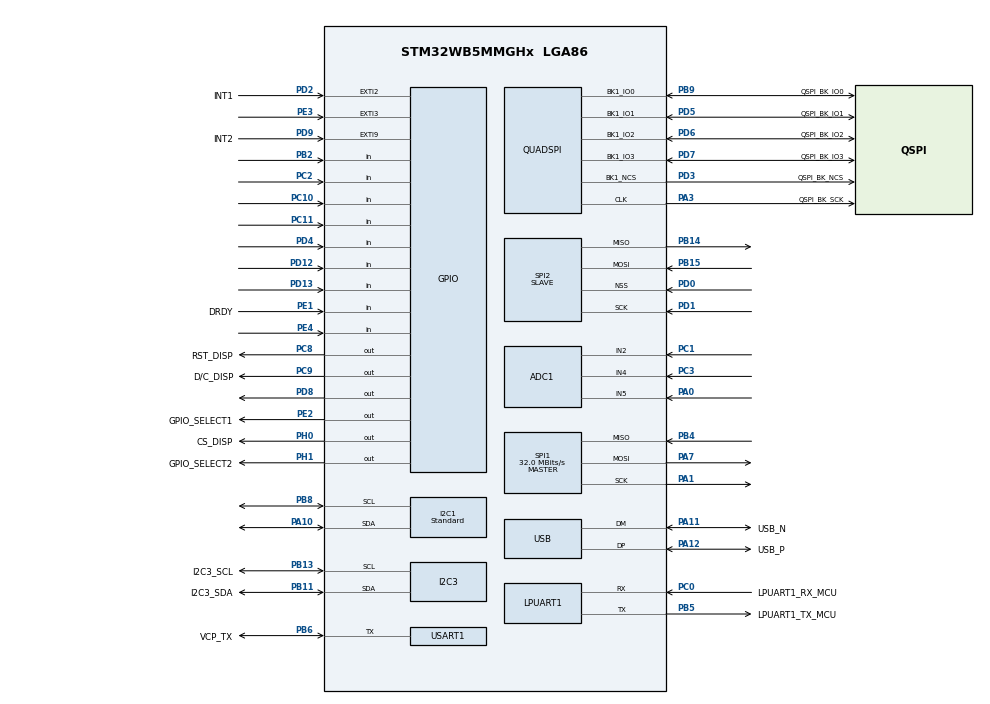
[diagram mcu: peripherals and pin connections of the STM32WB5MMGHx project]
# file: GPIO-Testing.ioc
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ADC1.Channel-0\#ChannelRegularConversion=ADC_CHANNEL_2
ADC1.ClockPrescaler=ADC_CLOCK_ASYNC_DIV6
ADC1.NbrOfConversionFlag=1
ADC1.OffsetNumber-0\#ChannelRegularConversion=ADC_OFFSET_NONE
ADC1.Rank-0\#ChannelRegularConversion=1
ADC1.SamplingTime-0\#ChannelRegularConversion=ADC_SAMPLETIME_2CYCLES_5
ADC1.master=1
Dma.ADC1.0.Direction=DMA_PERIPH_TO_MEMORY
Dma.ADC1.0.EventEnable=DISABLE
Dma.ADC1.0.Instance=DMA1_Channel1
Dma.ADC1.0.MemDataAlignment=DMA_MDATAALIGN_HALFWORD
Dma.ADC1.0.MemInc=DMA_MINC_ENABLE
Dma.ADC1.0.Mode=DMA_CIRCULAR
Dma.ADC1.0.PeriphDataAlignment=DMA_PDATAALIGN_HALFWORD
Dma.ADC1.0.PeriphInc=DMA_PINC_DISABLE
Dma.ADC1.0.Polarity=HAL_DMAMUX_REQ_GEN_RISING
Dma.ADC1.0.Priority=DMA_PRIORITY_LOW
Dma.ADC1.0.RequestNumber=1
Dma.ADC1.0.SignalID=NONE
Dma.ADC1.0.SyncEnable=DISABLE
Dma.ADC1.0.SyncPolarity=HAL_DMAMUX_SYNC_NO_EVENT
Dma.ADC1.0.SyncRequestNumber=1
Dma.ADC1.0.SyncSignalID=NONE
Dma.LPUART1_RX.1.Direction=DMA_PERIPH_TO_MEMORY
Dma.LPUART1_RX.1.EventEnable=DISABLE
Dma.LPUART1_RX.1.Instance=DMA1_Channel2
Dma.LPUART1_RX.1.MemDataAlignment=DMA_MDATAALIGN_BYTE
Dma.LPUART1_RX.1.MemInc=DMA_MINC_ENABLE
Dma.LPUART1_RX.1.Mode=DMA_NORMAL
Dma.LPUART1_RX.1.PeriphDataAlignment=DMA_PDATAALIGN_BYTE
Dma.LPUART1_RX.1.PeriphInc=DMA_PINC_DISABLE
Dma.LPUART1_RX.1.Polarity=HAL_DMAMUX_REQ_GEN_RISING
Dma.LPUART1_RX.1.Priority=DMA_PRIORITY_LOW
Dma.LPUART1_RX.1.RequestNumber=1
Dma.LPUART1_RX.1.SignalID=NONE
Dma.LPUART1_RX.1.SyncEnable=DISABLE
Dma.LPUART1_RX.1.SyncPolarity=HAL_DMAMUX_SYNC_NO_EVENT
Dma.LPUART1_RX.1.SyncRequestNumber=1
Dma.LPUART1_RX.1.SyncSignalID=NONE
Dma.Request0=ADC1
Dma.Request1=LPUART1_RX
I2C1.CustomTiming=Enabled
I2C1.I2C_Speed_Mode=I2C_Standard
I2C1.Timing=0x10707DBC
I2C3.SMBusAddressingMode=SMBUS_ADDRESSINGMODE_7BIT
I2C3.Timeout=0x0000830D
I2C3.Timing=0x10B17DB5
LPTIM2.ULPClockPolarity=LPTIM_CLOCKPOLARITY_FALLING
LPTIM2.ULPClockSampleTime=LPTIM_CLOCKSAMPLETIME_2TRANSITIONS
Mcu.Family=STM32WB
Mcu.Name=STM32WB5MMGHx
Mcu.Package=LGA86
NVIC.DMA1_Channel1_IRQn=true\:0\:0\:false\:false\:true\:false\:true\:true
NVIC.DMA1_Channel2_IRQn=true\:0\:0\:false\:false\:true\:false\:true\:true
NVIC.HSEM_IRQn=true\:0\:0\:false\:false\:true\:false\:true\:true
NVIC.LPUART1_IRQn=true\:0\:0\:false\:false\:true\:true\:true\:true
NVIC.PriorityGroup=NVIC_PRIORITYGROUP_4
NVIC.RTC_Alarm_IRQn=true\:0\:0\:false\:false\:true\:true\:true\:true
NVIC.TIM1_CC_IRQn=true\:0\:0\:false\:false\:true\:true\:true\:true
PA0.Signal=ADCx_IN5
PA1.Mode=Full_Duplex_Master
PA1.Signal=SPI1_SCK
PA10.GPIO_Pu=GPIO_PULLUP
PA10.Mode=I2C
PA10.Signal=I2C1_SDA
PA11.GPIO_Label=USB_N
PA11.Mode=Device
PA11.Signal=USB_DM
PA12.GPIO_Label=USB_P
PA12.Mode=Device
PA12.Signal=USB_DP
PA13.GPIO_Label=T_SWDIO
PA13.Signal=SYS_JTMS-SWDIO
PA14.GPIO_Label=T_SWCLK
PA14.Signal=SYS_JTCK-SWCLK
PA15.Signal=S_TIM2_CH1
PA2.Signal=ADCx_IN7
PA3.GPIO_Label=QSPI_BK_SCK
PA3.Mode=Single Bank 1
PA3.Signal=QUADSPI_CLK
PA4.Signal=SPI1_NSS
PA5.Signal=ADCx_IN10
PA6.Signal=LPUART1_CTS
PA7.Mode=Full_Duplex_Master
PA7.Signal=SPI1_MOSI
PA8.GPIO_Label=SAI1_CK2
PA8.Signal=SAI1_CK2
PA9.GPIO_Label=SAI1_D2
PA9.Signal=SAI1_D2
PB10.Signal=S_TIM2_CH3
PB11.GPIO_Label=I2C3_SDA
PB11.GPIO_Pu=GPIO_PULLUP
PB11.Mode=SMBus-two-wire-Interface
PB11.Signal=I2C3_SDA
PB12.Signal=LPUART1_RTS
PB13.GPIO_Label=I2C3_SCL
PB13.GPIO_Pu=GPIO_PULLUP
PB13.Mode=SMBus-two-wire-Interface
PB13.Signal=I2C3_SCL
PB14.Mode=Full_Duplex_Slave
PB14.Signal=SPI2_MISO
PB15.Mode=Full_Duplex_Slave
PB15.Signal=SPI2_MOSI
PB2.Signal=GPIO_Input
PB3.GPIO_Label=T_SWO
PB3.Signal=SYS_JTDO-SWO
PB4.Mode=Full_Duplex_Master
PB4.Signal=SPI1_MISO
PB5.GPIO_Label=LPUART1_TX_MCU
PB5.Mode=Asynchronous
PB5.Signal=LPUART1_TX
PB6.GPIO_Label=VCP_TX
PB6.Mode=Half_duplex(single_wire_mode)
PB6.Signal=USART1_TX
PB7.GPIO_Label=VCP_RX
PB7.Signal=USART1_RX
PB8.GPIO_Pu=GPIO_PULLUP
PB8.Mode=I2C
PB8.Signal=I2C1_SCL
PB9.GPIO_Label=QSPI_BK_IO0
PB9.Mode=Single Bank 1
PB9.Signal=QUADSPI_BK1_IO0
PC0.GPIO_Label=LPUART1_RX_MCU
PC0.Mode=Asynchronous
PC0.Signal=LPUART1_RX
PC1.Signal=ADCx_IN2
PC10.Signal=GPIO_Input
PC11.Signal=GPIO_Input
PC12.GPIO_Label=User-B1
PC12.Mode=SYS_WakeUp2
PC12.Signal=SYS_WKUP3
PC13.GPIO_Label=User-B2
PC13.Mode=SYS_WakeUp1
PC13.Signal=SYS_WKUP2
PC2.Signal=GPIO_Input
PC3.Signal=ADCx_IN4
PC4.Signal=ADCx_IN13
PC5.Signal=ADCx_IN14
PC6.GPIO_Label=TSC_G4_IO1
PC6.Signal=TSC_G4_IO1
PC7.GPIO_Label=TSC_G4_IO2
PC7.Signal=TSC_G4_IO2
PC8.GPIO_Label=RST_DISP
PC8.Signal=GPIO_Output
PC9.GPIO_Label=D/C_DISP
PC9.Signal=GPIO_Output
PD0.Mode=NSS_Signal_Hard_Input
PD0.Signal=SPI2_NSS
PD1.Mode=Full_Duplex_Slave
PD1.Signal=SPI2_SCK
PD10.GPIO_Label=TSC_G6_IO1
PD10.Signal=TSC_G6_IO1
PD11.GPIO_Label=TSC_G6_IO2
PD11.Signal=TSC_G6_IO2
PD12.Signal=GPIO_Input
PD13.Signal=GPIO_Input
PD14.Signal=S_TIM1_CH1
PD15.Signal=S_TIM1_CH2
PD2.GPIO_Label=INT1
PD2.Signal=GPXTI2
PD3.GPIO_Label=QSPI_BK_NCS
PD3.Mode=Single Bank 1
PD3.Signal=QUADSPI_BK1_NCS
PD4.Signal=GPIO_Input
PD5.GPIO_Label=QSPI_BK_IO1
PD5.Mode=Single Bank 1
PD5.Signal=QUADSPI_BK1_IO1
PD6.GPIO_Label=QSPI_BK_IO2
PD6.Mode=Single Bank 1
PD6.Signal=QUADSPI_BK1_IO2
PD7.GPIO_Label=QSPI_BK_IO3
PD7.Mode=Single Bank 1
PD7.Signal=QUADSPI_BK1_IO3
PD8.Signal=GPIO_Output
PD9.GPIO_Label=INT2
PD9.Signal=GPXTI9
PE0.Signal=S_TIM16_CH1
PE1.GPIO_Label=DRDY
PE1.Signal=GPIO_Input
PE2.GPIO_Label=GPIO_SELECT1
PE2.Signal=GPIO_Output
PE3.Signal=GPXTI3
PE4.Signal=GPIO_Input
PH0.GPIO_Label=CS_DISP
PH0.Signal=GPIO_Output
PH1.GPIO_Label=GPIO_SELECT2
PH1.Signal=GPIO_Output
ProjectManager.HeapSize=0x200
ProjectManager.StackSize=0x400
ProjectManager.TargetToolchain=STM32CubeIDE
RCC.ADCFreq_Value=48000000
RCC.AHB2CLKDivider=RCC_SYSCLK_DIV2
RCC.AHBFreq_Value=64000000
RCC.APB1Freq_Value=64000000
RCC.APB1TimFreq_Value=64000000
RCC.APB2Freq_Value=64000000
RCC.APB2TimFreq_Value=64000000
RCC.APB3Freq_Value=16000000
RCC.Cortex2_Div=SYSTICK_CLKSOURCE_HCLK_DIV8
RCC.CortexFreq_Value=64000000
RCC.HCLKFreq_Value=64000000
RCC.HSE_VALUE=32000000
RCC.HSI48_VALUE=48000000
RCC.HSI_VALUE=16000000
RCC.PLLN=32
RCC.PLLSAI1N=24
RCC.SYSCLKFreq_VALUE=64000000
RCC.SYSCLKSource=RCC_SYSCLKSOURCE_PLLCLK
RCC.USBFreq_Value=48000000
RCC.VCOOutputFreq_Value=128000000
RTC.Alarm-Alarm\ A=RTC_ALARM_A
RTC.Hours_A-Alarm\ A=1
RTC.Minutes_A-Alarm\ A=20
SH.ADCx_IN10.0=ADC1_IN10
SH.ADCx_IN13.0=ADC1_IN13
SH.ADCx_IN14.0=ADC1_IN14
SH.ADCx_IN2.0=ADC1_IN2,IN2-Single-Ended
SH.ADCx_IN4.0=ADC1_IN4,IN4-Differential
SH.ADCx_IN5.0=ADC1_IN5,IN4-Differential
SH.ADCx_IN7.0=ADC1_IN7
SH.S_TIM16_CH1.0=TIM16_CH1
SH.S_TIM1_CH1.0=TIM1_CH1
SH.S_TIM1_CH2.0=TIM1_CH2
SH.S_TIM2_CH1.0=TIM2_CH1
SH.S_TIM2_CH3.0=TIM2_CH3
SPI1.CalculateBaudRate=32.0 MBits/s
SPI1.DataSize=SPI_DATASIZE_10BIT
SPI1.Direction=SPI_DIRECTION_2LINES
SPI1.Mode=SPI_MODE_MASTER
SPI1.VirtualType=VM_MASTER
SPI2.Direction=SPI_DIRECTION_2LINES
SPI2.Mode=SPI_MODE_SLAVE
SPI2.VirtualNSS=VM_NSSHARD
SPI2.VirtualType=VM_SLAVE
TIM16.AutoReloadPreload=TIM_AUTORELOAD_PRELOAD_ENABLE
TIM17.Prescaler=16
USART1.AutoBaudRateEnableParam=UART_ADVFEATURE_AUTOBAUDRATE_ENABLE
USART1.VirtualMode-Half_duplex(single_wire_mode)=VM_ASYNC
VP_CRC_VS_CRC.Mode=CRC_Activate
VP_HSEM_VS_HSEM.Mode=HSEM_Activate
VP_IWDG_VS_IWDG.Mode=IWDG_Activate
VP_LPTIM1_VS_LPTIM_counterModeInternalClock.Mode=Counts__internal_clock_event_00
VP_LPTIM2_VS_COMP2_LPTIM.Mode=Counts_external_clock_with_synchro_01_occur3
VP_MEMORYMAP_VS_MEMORYMAP.Mode=CurAppReg
VP_RCC_LSE.Mode=CRS SYNC Source LSE
VP_RCC_V_OSC32_IN.Mode=LSE-External-Clock-Source
VP_RCC_V_OSC_IN.Mode=HSE-External-Clock-Source
VP_RF_VS_RF.Mode=RF_Activate
VP_RTC_VS_RTC_Activate.Mode=RTC_Enabled
VP_RTC_VS_RTC_Alarm_A_Intern.Mode=Alarm A
VP_RTC_VS_RTC_Calendar.Mode=RTC_Calendar
VP_TIM16_VS_ClockSourceINT.Mode=Enable_Timer
VP_TIM17_VS_ClockSourceINT.Mode=Enable_Timer
VP_TIM1_VS_ClockSourceITR.Mode=TriggerSource_ITR2
VP_TIM1_VS_ControllerModeClock.Mode=Clock Mode
VP_TIM2_VS_ControllerModeTrigger.Mode=Trigger Mode
VP_TIM2_VS_NoETR.Mode=TriggerSource_ETR_Remap_TIM2
VP_WWDG_VS_WWDG.Mode=WWDG_Activate
board=STM32WB5MM-DK

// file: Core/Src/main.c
/* USER CODE BEGIN Header */
/**
  ******************************************************************************
  * @file           : main.c
  * @brief          : Main program body
  ******************************************************************************
  * @attention
  *
  * Copyright (c) 2025 STMicroelectronics.
  * All rights reserved.
  *
  * This software is licensed under terms that can be found in the LICENSE file
  * in the root directory of this software component.
  * If no LICENSE file comes with this software, it is provided AS-IS.
  *
  ******************************************************************************
  */
/* USER CODE END Header */
#include "main.h"
#include "BMP280.h"
#include <stdio.h>
#include <stdint.h>
#define  DEVICE_ADDRESS_L (0x76 << 1)
#define  DEVICE_ADDRESS_H (0x76 << 1)

ADC_HandleTypeDef hadc1;
DMA_HandleTypeDef hdma_adc1;

CRC_HandleTypeDef hcrc;

I2C_HandleTypeDef hi2c1;
SMBUS_HandleTypeDef hsmbus3;

IWDG_HandleTypeDef hiwdg;

LPTIM_HandleTypeDef hlptim1;
LPTIM_HandleTypeDef hlptim2;

UART_HandleTypeDef hlpuart1;
UART_HandleTypeDef huart1;
DMA_HandleTypeDef hdma_lpuart1_rx;

QSPI_HandleTypeDef hqspi;

RTC_HandleTypeDef hrtc;

SPI_HandleTypeDef hspi1;
SPI_HandleTypeDef hspi2;

TIM_HandleTypeDef htim1;
TIM_HandleTypeDef htim2;
TIM_HandleTypeDef htim16;
TIM_HandleTypeDef htim17;

PCD_HandleTypeDef hpcd_USB_FS;

WWDG_HandleTypeDef hwwdg;

/* USER CODE BEGIN PV */
BMP280_CalibData calib_data;
unsigned char temp_reg = 0xFA;
unsigned char press_reg = 0xF7;
int32_t t_fine;
/* USER CODE END PV */

void SystemClock_Config(void);
void PeriphCommonClock_Config(void);
static void MX_RF_Init(void);
static void MX_GPIO_Init(void);
static void MX_DMA_Init(void);
static void MX_ADC1_Init(void);
static void MX_CRC_Init(void);
static void MX_I2C1_Init(void);
static void MX_I2C3_SMBUS_Init(void);
static void MX_IWDG_Init(void);
static void MX_LPTIM1_Init(void);
static void MX_LPTIM2_Init(void);
static void MX_LPUART1_UART_Init(void);
static void MX_USART1_UART_Init(void);
static void MX_QUADSPI_Init(void);
static void MX_RTC_Init(void);
static void MX_SPI1_Init(void);
static void MX_SPI2_Init(void);
static void MX_TIM1_Init(void);
static void MX_TIM2_Init(void);
static void MX_TIM16_Init(void);
static void MX_TIM17_Init(void);
static void MX_USB_PCD_Init(void);
static void MX_WWDG_Init(void);

int main(void)
{

  /* MCU Configuration--------------------------------------------------------*/

  /* Reset of all peripherals, Initializes the Flash interface and the Systick. */
  HAL_Init();

  /* Configure the system clock */
  SystemClock_Config();

  /* Configure the peripherals common clocks */
  PeriphCommonClock_Config();

  /* Initialize all configured peripherals */
  MX_RF_Init();
  MX_GPIO_Init();
  MX_DMA_Init();
  MX_ADC1_Init();
  MX_CRC_Init();
  MX_I2C1_Init();
  MX_I2C3_SMBUS_Init();
  //MX_IWDG_Init();
  MX_LPTIM1_Init();
  MX_LPTIM2_Init();
  MX_LPUART1_UART_Init();
  MX_USART1_UART_Init();
  MX_QUADSPI_Init();
  MX_RTC_Init();
  MX_SPI1_Init();
  MX_SPI2_Init();
  MX_TIM1_Init();
  MX_TIM2_Init();
  MX_TIM16_Init();
  MX_TIM17_Init();
  MX_USB_PCD_Init();
  //MX_WWDG_Init();
  /* USER CODE BEGIN 2 */

  // Resetting BMP 280
  uint8_t datatowrite = 0;
  uint8_t datacheck = 0;
  datatowrite = 0xB6;
  HAL_StatusTypeDef ret = HAL_I2C_Mem_Write(&hi2c1, DEVICE_ADDRESS_L, resetRegister, I2C_MEMADD_SIZE_8BIT, &datatowrite, 1, 1000);
  if (ret == HAL_OK)
    {
  	 HAL_GPIO_WritePin(GPIOD,GPIO_PIN_8,1);
  	 printf("Reset Successfully!");

    }
  // Turns on an external LED when the BMP is ready for communication
  ret = HAL_I2C_IsDeviceReady(&hi2c1,((Device_Address)<<1)+0 ,1,500 );
  if (ret == HAL_OK)
  {
	 HAL_GPIO_WritePin(GPIOD,GPIO_PIN_8,1);
	 printf("The device is ready for communication");

  }
  // configurate the temperature oversampling mode to skipped
  // Location: Bit 7,6 and 5 of Register 0xF4
  // Bit 4,3,and 2 are for controlling pressure oversampling
  // Bit 1 and 0 are used for configurating the power mode
  // Setting Register 0xF4 to 0x00000011
  // ( Skipped for both temp and pressure oversampling and normal for power mode)
  // Notice: power mode is usually set to sleep mode when powered on

  uint8_t control_configuration = 0xB3;
  ret = HAL_I2C_Mem_Write(&hi2c1, ((Device_Address)<<1)+0,Control_Config_Number, I2C_MEMADD_SIZE_8BIT, &control_configuration, 1, 500);
  if (ret == HAL_OK)
    {
  	 HAL_GPIO_WritePin(GPIOD,GPIO_PIN_8,0);

    }
  HAL_I2C_Mem_Read(&hi2c1, ((Device_Address)<<1)+1, Control_Config_Number, I2C_MEMADD_SIZE_8BIT, &datacheck, 1, 1000);
  if (datacheck!=control_configuration )
  {
	  printf("control config not set properly");
  }

  uint8_t config_Setting = 0xA8;
  ret = HAL_I2C_Mem_Write(&hi2c1,((Device_Address)<<1)+0,Configuration_Register_Number, I2C_MEMADD_SIZE_8BIT, &config_Setting, 1, 500);
  if (ret == HAL_OK)
      {
    	 HAL_GPIO_WritePin(GPIOD,GPIO_PIN_8,1);

      }
  HAL_I2C_Mem_Read(&hi2c1, ((Device_Address)<<1)+1, Configuration_Register_Number, I2C_MEMADD_SIZE_8BIT, &datacheck, 1, 1000);
  if (datacheck!=config_Setting)
  {
	  printf("Config register not set properly");
  }

  read_calibration_data();

  /* USER CODE END 2 */

  /* Infinite loop */
  /* USER CODE BEGIN WHILE */

  while (1)
  {		/*
  	  // exact piece of code from Maartin
  	  HAL_Delay(50);
	//HAL_I2C_Mem_Read(&hi2c1, BMP280_Address, 0xF7, 1, &BMP280_Data[0], 7, 500);
	//HAL_I2C_Master_Transmit(&hi2c1, DEVICE_ADDRESS_L,temp_msb , 1, 500);
	  unsigned char data_address = 0xFA;
	  HAL_I2C_Master_Transmit(&hi2c1, DEVICE_ADDRESS_L,&data_address , 1, 500);
	//HAL_I2C_Master_Receive_IT(&hi2c1, DEVICE_ADDRESS_L, data, 2); // with interrupt
	  HAL_I2C_Master_Receive(&hi2c1, DEVICE_ADDRESS_L|0x01, data, 2,500);
	*/
	  // Original Code that should work but doesn't seem so ( replace Mem read with Master/slace read)
	  HAL_Delay(1000);
	  int32_t raw_ADC_Data_Temp = read_ADC_T();
	  int32_t raw_ADC_Data_Pressure = read_ADC_P();
	  float final_temperature_value = compensate_temperature(raw_ADC_Data_Temp);
	  float final_pressure_value = compensate_pressure_v2(raw_ADC_Data_Pressure);
	  printf("The current temperature is %.2f deg Celsius\n", final_temperature_value );
	  printf("The current pressure is %.2f Pa \n ", final_pressure_value );

    /* USER CODE END WHILE */

  }
}

void SystemClock_Config(void)
{
  RCC_OscInitTypeDef RCC_OscInitStruct = {0};
  RCC_ClkInitTypeDef RCC_ClkInitStruct = {0};
  RCC_CRSInitTypeDef RCC_CRSInitStruct = {0};

  /** Configure LSE Drive Capability
  */
  HAL_PWR_EnableBkUpAccess();
  __HAL_RCC_LSEDRIVE_CONFIG(RCC_LSEDRIVE_MEDIUMHIGH);

  /** Configure the main internal regulator output voltage
  */
  __HAL_PWR_VOLTAGESCALING_CONFIG(PWR_REGULATOR_VOLTAGE_SCALE1);

  /** Initializes the RCC Oscillators according to the specified parameters
  * in the RCC_OscInitTypeDef structure.
  */
  RCC_OscInitStruct.OscillatorType = RCC_OSCILLATORTYPE_HSI|RCC_OSCILLATORTYPE_LSI1
                              |RCC_OSCILLATORTYPE_HSE|RCC_OSCILLATORTYPE_LSE
                              |RCC_OSCILLATORTYPE_MSI;
  RCC_OscInitStruct.HSEState = RCC_HSE_ON;
  RCC_OscInitStruct.LSEState = RCC_LSE_ON;
  RCC_OscInitStruct.HSIState = RCC_HSI_ON;
  RCC_OscInitStruct.MSIState = RCC_MSI_ON;
  RCC_OscInitStruct.HSICalibrationValue = RCC_HSICALIBRATION_DEFAULT;
  RCC_OscInitStruct.MSICalibrationValue = RCC_MSICALIBRATION_DEFAULT;
  RCC_OscInitStruct.MSIClockRange = RCC_MSIRANGE_6;
  RCC_OscInitStruct.LSIState = RCC_LSI_ON;
  RCC_OscInitStruct.PLL.PLLState = RCC_PLL_ON;
  RCC_OscInitStruct.PLL.PLLSource = RCC_PLLSOURCE_MSI;
  RCC_OscInitStruct.PLL.PLLM = RCC_PLLM_DIV1;
  RCC_OscInitStruct.PLL.PLLN = 32;
  RCC_OscInitStruct.PLL.PLLP = RCC_PLLP_DIV2;
  RCC_OscInitStruct.PLL.PLLR = RCC_PLLR_DIV2;
  RCC_OscInitStruct.PLL.PLLQ = RCC_PLLQ_DIV2;
  if (HAL_RCC_OscConfig(&RCC_OscInitStruct) != HAL_OK)
  {
    Error_Handler();
  }

  /** Configure the SYSCLKSource, HCLK, PCLK1 and PCLK2 clocks dividers
  */
  RCC_ClkInitStruct.ClockType = RCC_CLOCKTYPE_HCLK4|RCC_CLOCKTYPE_HCLK2
                              |RCC_CLOCKTYPE_HCLK|RCC_CLOCKTYPE_SYSCLK
                              |RCC_CLOCKTYPE_PCLK1|RCC_CLOCKTYPE_PCLK2;
  RCC_ClkInitStruct.SYSCLKSource = RCC_SYSCLKSOURCE_PLLCLK;
  RCC_ClkInitStruct.AHBCLKDivider = RCC_SYSCLK_DIV1;
  RCC_ClkInitStruct.APB1CLKDivider = RCC_HCLK_DIV1;
  RCC_ClkInitStruct.APB2CLKDivider = RCC_HCLK_DIV1;
  RCC_ClkInitStruct.AHBCLK2Divider = RCC_SYSCLK_DIV2;
  RCC_ClkInitStruct.AHBCLK4Divider = RCC_SYSCLK_DIV1;

  if (HAL_RCC_ClockConfig(&RCC_ClkInitStruct, FLASH_LATENCY_3) != HAL_OK)
  {
    Error_Handler();
  }

  /** Enable MSI Auto calibration
  */
  HAL_RCCEx_EnableMSIPLLMode();

  /** Enable the SYSCFG APB clock
  */
  __HAL_RCC_CRS_CLK_ENABLE();

  /** Configures CRS
  */
  RCC_CRSInitStruct.Prescaler = RCC_CRS_SYNC_DIV1;
  RCC_CRSInitStruct.Source = RCC_CRS_SYNC_SOURCE_LSE;
  RCC_CRSInitStruct.Polarity = RCC_CRS_SYNC_POLARITY_RISING;
  RCC_CRSInitStruct.ReloadValue = __HAL_RCC_CRS_RELOADVALUE_CALCULATE(48000000,32774);
  RCC_CRSInitStruct.ErrorLimitValue = 34;
  RCC_CRSInitStruct.HSI48CalibrationValue = 32;

  HAL_RCCEx_CRSConfig(&RCC_CRSInitStruct);
}

void PeriphCommonClock_Config(void)
{
  RCC_PeriphCLKInitTypeDef PeriphClkInitStruct = {0};

  /** Initializes the peripherals clock
  */
  PeriphClkInitStruct.PeriphClockSelection = RCC_PERIPHCLK_SMPS|RCC_PERIPHCLK_RFWAKEUP
                              |RCC_PERIPHCLK_USB|RCC_PERIPHCLK_ADC;
  PeriphClkInitStruct.PLLSAI1.PLLN = 24;
  PeriphClkInitStruct.PLLSAI1.PLLP = RCC_PLLP_DIV2;
  PeriphClkInitStruct.PLLSAI1.PLLQ = RCC_PLLQ_DIV2;
  PeriphClkInitStruct.PLLSAI1.PLLR = RCC_PLLR_DIV2;
  PeriphClkInitStruct.PLLSAI1.PLLSAI1ClockOut = RCC_PLLSAI1_USBCLK|RCC_PLLSAI1_ADCCLK;
  PeriphClkInitStruct.UsbClockSelection = RCC_USBCLKSOURCE_PLLSAI1;
  PeriphClkInitStruct.AdcClockSelection = RCC_ADCCLKSOURCE_PLLSAI1;
  PeriphClkInitStruct.RFWakeUpClockSelection = RCC_RFWKPCLKSOURCE_HSE_DIV1024;
  PeriphClkInitStruct.SmpsClockSelection = RCC_SMPSCLKSOURCE_HSI;
  PeriphClkInitStruct.SmpsDivSelection = RCC_SMPSCLKDIV_RANGE1;

  if (HAL_RCCEx_PeriphCLKConfig(&PeriphClkInitStruct) != HAL_OK)
  {
    Error_Handler();
  }
}

static void MX_ADC1_Init(void)
{

  ADC_ChannelConfTypeDef sConfig = {0};

  /** Common config
  */
  hadc1.Instance = ADC1;
  hadc1.Init.ClockPrescaler = ADC_CLOCK_ASYNC_DIV6;
  hadc1.Init.Resolution = ADC_RESOLUTION_12B;
  hadc1.Init.DataAlign = ADC_DATAALIGN_RIGHT;
  hadc1.Init.ScanConvMode = ADC_SCAN_DISABLE;
  hadc1.Init.EOCSelection = ADC_EOC_SINGLE_CONV;
  hadc1.Init.LowPowerAutoWait = DISABLE;
  hadc1.Init.ContinuousConvMode = DISABLE;
  hadc1.Init.NbrOfConversion = 1;
  hadc1.Init.DiscontinuousConvMode = DISABLE;
  hadc1.Init.ExternalTrigConv = ADC_SOFTWARE_START;
  hadc1.Init.ExternalTrigConvEdge = ADC_EXTERNALTRIGCONVEDGE_NONE;
  hadc1.Init.DMAContinuousRequests = DISABLE;
  hadc1.Init.Overrun = ADC_OVR_DATA_PRESERVED;
  hadc1.Init.OversamplingMode = DISABLE;
  if (HAL_ADC_Init(&hadc1) != HAL_OK)
  {
    Error_Handler();
  }

  /** Configure Regular Channel
  */
  sConfig.Channel = ADC_CHANNEL_2;
  sConfig.Rank = ADC_REGULAR_RANK_1;
  sConfig.SamplingTime = ADC_SAMPLETIME_2CYCLES_5;
  sConfig.SingleDiff = ADC_SINGLE_ENDED;
  sConfig.OffsetNumber = ADC_OFFSET_NONE;
  sConfig.Offset = 0;
  if (HAL_ADC_ConfigChannel(&hadc1, &sConfig) != HAL_OK)
  {
    Error_Handler();
  }

}

static void MX_CRC_Init(void)
{

  hcrc.Instance = CRC;
  hcrc.Init.DefaultPolynomialUse = DEFAULT_POLYNOMIAL_ENABLE;
  hcrc.Init.DefaultInitValueUse = DEFAULT_INIT_VALUE_ENABLE;
  hcrc.Init.InputDataInversionMode = CRC_INPUTDATA_INVERSION_NONE;
  hcrc.Init.OutputDataInversionMode = CRC_OUTPUTDATA_INVERSION_DISABLE;
  hcrc.InputDataFormat = CRC_INPUTDATA_FORMAT_BYTES;
  if (HAL_CRC_Init(&hcrc) != HAL_OK)
  {
    Error_Handler();
  }

}

static void MX_I2C1_Init(void)
{

  hi2c1.Instance = I2C1;
  hi2c1.Init.Timing = 0x10707DBC;
  hi2c1.Init.OwnAddress1 = 0;
  hi2c1.Init.AddressingMode = I2C_ADDRESSINGMODE_7BIT;
  hi2c1.Init.DualAddressMode = I2C_DUALADDRESS_DISABLE;
  hi2c1.Init.OwnAddress2 = 0;
  hi2c1.Init.OwnAddress2Masks = I2C_OA2_NOMASK;
  hi2c1.Init.GeneralCallMode = I2C_GENERALCALL_DISABLE;
  hi2c1.Init.NoStretchMode = I2C_NOSTRETCH_DISABLE;
  if (HAL_I2C_Init(&hi2c1) != HAL_OK)
  {
    Error_Handler();
  }

  /** Configure Analogue filter
  */
  if (HAL_I2CEx_ConfigAnalogFilter(&hi2c1, I2C_ANALOGFILTER_ENABLE) != HAL_OK)
  {
    Error_Handler();
  }

  /** Configure Digital filter
  */
  if (HAL_I2CEx_ConfigDigitalFilter(&hi2c1, 0) != HAL_OK)
  {
    Error_Handler();
  }

}

static void MX_I2C3_SMBUS_Init(void)
{

  hsmbus3.Instance = I2C3;
  hsmbus3.Init.Timing = 0x10B17DB5;
  hsmbus3.Init.AnalogFilter = SMBUS_ANALOGFILTER_ENABLE;
  hsmbus3.Init.OwnAddress1 = 2;
  hsmbus3.Init.AddressingMode = SMBUS_ADDRESSINGMODE_7BIT;
  hsmbus3.Init.DualAddressMode = SMBUS_DUALADDRESS_DISABLE;
  hsmbus3.Init.OwnAddress2 = 0;
  hsmbus3.Init.OwnAddress2Masks = SMBUS_OA2_NOMASK;
  hsmbus3.Init.GeneralCallMode = SMBUS_GENERALCALL_DISABLE;
  hsmbus3.Init.NoStretchMode = SMBUS_NOSTRETCH_DISABLE;
  hsmbus3.Init.PacketErrorCheckMode = SMBUS_PEC_DISABLE;
  hsmbus3.Init.PeripheralMode = SMBUS_PERIPHERAL_MODE_SMBUS_SLAVE;
  hsmbus3.Init.SMBusTimeout = 0x0000830D;
  if (HAL_SMBUS_Init(&hsmbus3) != HAL_OK)
  {
    Error_Handler();
  }

}

static void MX_IWDG_Init(void)
{

  hiwdg.Instance = IWDG;
  hiwdg.Init.Prescaler = IWDG_PRESCALER_4;
  hiwdg.Init.Window = 4095;
  hiwdg.Init.Reload = 4095;
  if (HAL_IWDG_Init(&hiwdg) != HAL_OK)
  {
    Error_Handler();
  }

}

static void MX_LPTIM1_Init(void)
{

  hlptim1.Instance = LPTIM1;
  hlptim1.Init.Clock.Source = LPTIM_CLOCKSOURCE_APBCLOCK_LPOSC;
  hlptim1.Init.Clock.Prescaler = LPTIM_PRESCALER_DIV1;
  hlptim1.Init.Trigger.Source = LPTIM_TRIGSOURCE_SOFTWARE;
  hlptim1.Init.OutputPolarity = LPTIM_OUTPUTPOLARITY_HIGH;
  hlptim1.Init.UpdateMode = LPTIM_UPDATE_IMMEDIATE;
  hlptim1.Init.CounterSource = LPTIM_COUNTERSOURCE_INTERNAL;
  hlptim1.Init.Input1Source = LPTIM_INPUT1SOURCE_GPIO;
  hlptim1.Init.Input2Source = LPTIM_INPUT2SOURCE_GPIO;
  if (HAL_LPTIM_Init(&hlptim1) != HAL_OK)
  {
    Error_Handler();
  }

}

static void MX_LPTIM2_Init(void)
{

  hlptim2.Instance = LPTIM2;
  hlptim2.Init.Clock.Source = LPTIM_CLOCKSOURCE_APBCLOCK_LPOSC;
  hlptim2.Init.Clock.Prescaler = LPTIM_PRESCALER_DIV1;
  hlptim2.Init.UltraLowPowerClock.Polarity = LPTIM_CLOCKPOLARITY_FALLING;
  hlptim2.Init.UltraLowPowerClock.SampleTime = LPTIM_CLOCKSAMPLETIME_2TRANSITIONS;
  hlptim2.Init.Trigger.Source = LPTIM_TRIGSOURCE_SOFTWARE;
  hlptim2.Init.OutputPolarity = LPTIM_OUTPUTPOLARITY_HIGH;
  hlptim2.Init.UpdateMode = LPTIM_UPDATE_IMMEDIATE;
  hlptim2.Init.CounterSource = LPTIM_COUNTERSOURCE_EXTERNAL;
  hlptim2.Init.Input1Source = LPTIM_INPUT1SOURCE_COMP2;
  hlptim2.Init.Input2Source = LPTIM_INPUT2SOURCE_GPIO;
  if (HAL_LPTIM_Init(&hlptim2) != HAL_OK)
  {
    Error_Handler();
  }

}

static void MX_LPUART1_UART_Init(void)
{

  hlpuart1.Instance = LPUART1;
  hlpuart1.Init.BaudRate = 209700;
  hlpuart1.Init.WordLength = UART_WORDLENGTH_8B;
  hlpuart1.Init.StopBits = UART_STOPBITS_1;
  hlpuart1.Init.Parity = UART_PARITY_NONE;
  hlpuart1.Init.Mode = UART_MODE_TX_RX;
  hlpuart1.Init.HwFlowCtl = UART_HWCONTROL_NONE;
  hlpuart1.Init.OneBitSampling = UART_ONE_BIT_SAMPLE_DISABLE;
  hlpuart1.Init.ClockPrescaler = UART_PRESCALER_DIV1;
  hlpuart1.AdvancedInit.AdvFeatureInit = UART_ADVFEATURE_NO_INIT;
  hlpuart1.FifoMode = UART_FIFOMODE_DISABLE;
  if (HAL_UART_Init(&hlpuart1) != HAL_OK)
  {
    Error_Handler();
  }
  if (HAL_UARTEx_SetTxFifoThreshold(&hlpuart1, UART_TXFIFO_THRESHOLD_1_8) != HAL_OK)
  {
    Error_Handler();
  }
  if (HAL_UARTEx_SetRxFifoThreshold(&hlpuart1, UART_RXFIFO_THRESHOLD_1_8) != HAL_OK)
  {
    Error_Handler();
  }
  if (HAL_UARTEx_DisableFifoMode(&hlpuart1) != HAL_OK)
  {
    Error_Handler();
  }

}

static void MX_USART1_UART_Init(void)
{

  huart1.Instance = USART1;
  huart1.Init.BaudRate = 115200;
  huart1.Init.WordLength = UART_WORDLENGTH_8B;
  huart1.Init.StopBits = UART_STOPBITS_1;
  huart1.Init.Parity = UART_PARITY_NONE;
  huart1.Init.Mode = UART_MODE_TX_RX;
  huart1.Init.HwFlowCtl = UART_HWCONTROL_NONE;
  huart1.Init.OverSampling = UART_OVERSAMPLING_16;
  huart1.Init.OneBitSampling = UART_ONE_BIT_SAMPLE_DISABLE;
  huart1.Init.ClockPrescaler = UART_PRESCALER_DIV1;
  huart1.AdvancedInit.AdvFeatureInit = UART_ADVFEATURE_AUTOBAUDRATE_INIT;
  huart1.AdvancedInit.AutoBaudRateEnable = UART_ADVFEATURE_AUTOBAUDRATE_ENABLE;
  huart1.AdvancedInit.AutoBaudRateMode = UART_ADVFEATURE_AUTOBAUDRATE_ONSTARTBIT;
  if (HAL_HalfDuplex_Init(&huart1) != HAL_OK)
  {
    Error_Handler();
  }
  if (HAL_UARTEx_SetTxFifoThreshold(&huart1, UART_TXFIFO_THRESHOLD_1_8) != HAL_OK)
  {
    Error_Handler();
  }
  if (HAL_UARTEx_SetRxFifoThreshold(&huart1, UART_RXFIFO_THRESHOLD_1_8) != HAL_OK)
  {
    Error_Handler();
  }
  if (HAL_UARTEx_DisableFifoMode(&huart1) != HAL_OK)
  {
    Error_Handler();
  }

}

static void MX_QUADSPI_Init(void)
{

  /* QUADSPI parameter configuration*/
  hqspi.Instance = QUADSPI;
  hqspi.Init.ClockPrescaler = 255;
  hqspi.Init.FifoThreshold = 1;
  hqspi.Init.SampleShifting = QSPI_SAMPLE_SHIFTING_NONE;
  hqspi.Init.FlashSize = 1;
  hqspi.Init.ChipSelectHighTime = QSPI_CS_HIGH_TIME_1_CYCLE;
  hqspi.Init.ClockMode = QSPI_CLOCK_MODE_0;
  if (HAL_QSPI_Init(&hqspi) != HAL_OK)
  {
    Error_Handler();
  }

}

static void MX_RF_Init(void)
{

}

static void MX_RTC_Init(void)
{

  RTC_TimeTypeDef sTime = {0};
  RTC_DateTypeDef sDate = {0};
  RTC_AlarmTypeDef sAlarm = {0};

  /** Initialize RTC Only
  */
  hrtc.Instance = RTC;
  hrtc.Init.HourFormat = RTC_HOURFORMAT_24;
  hrtc.Init.AsynchPrediv = 127;
  hrtc.Init.SynchPrediv = 255;
  hrtc.Init.OutPut = RTC_OUTPUT_DISABLE;
  hrtc.Init.OutPutPolarity = RTC_OUTPUT_POLARITY_HIGH;
  hrtc.Init.OutPutType = RTC_OUTPUT_TYPE_OPENDRAIN;
  hrtc.Init.OutPutRemap = RTC_OUTPUT_REMAP_NONE;
  if (HAL_RTC_Init(&hrtc) != HAL_OK)
  {
    Error_Handler();
  }

  /** Initialize RTC and set the Time and Date
  */
  sTime.Hours = 0x0;
  sTime.Minutes = 0x0;
  sTime.Seconds = 0x0;
  sTime.SubSeconds = 0x0;
  sTime.DayLightSaving = RTC_DAYLIGHTSAVING_NONE;
  sTime.StoreOperation = RTC_STOREOPERATION_RESET;
  if (HAL_RTC_SetTime(&hrtc, &sTime, RTC_FORMAT_BCD) != HAL_OK)
  {
    Error_Handler();
  }
  sDate.WeekDay = RTC_WEEKDAY_MONDAY;
  sDate.Month = RTC_MONTH_JANUARY;
  sDate.Date = 0x1;
  sDate.Year = 0x0;
  if (HAL_RTC_SetDate(&hrtc, &sDate, RTC_FORMAT_BCD) != HAL_OK)
  {
    Error_Handler();
  }

  /** Enable the Alarm A
  */
  sAlarm.AlarmTime.Hours = 0x1;
  sAlarm.AlarmTime.Minutes = 0x20;
  sAlarm.AlarmTime.Seconds = 0x0;
  sAlarm.AlarmTime.SubSeconds = 0x0;
  sAlarm.AlarmTime.DayLightSaving = RTC_DAYLIGHTSAVING_NONE;
  sAlarm.AlarmTime.StoreOperation = RTC_STOREOPERATION_RESET;
  sAlarm.AlarmMask = RTC_ALARMMASK_NONE;
  sAlarm.AlarmSubSecondMask = RTC_ALARMSUBSECONDMASK_ALL;
  sAlarm.AlarmDateWeekDaySel = RTC_ALARMDATEWEEKDAYSEL_DATE;
  sAlarm.AlarmDateWeekDay = 0x1;
  sAlarm.Alarm = RTC_ALARM_A;
  if (HAL_RTC_SetAlarm_IT(&hrtc, &sAlarm, RTC_FORMAT_BCD) != HAL_OK)
  {
    Error_Handler();
  }

}

static void MX_SPI1_Init(void)
{

  /* SPI1 parameter configuration*/
  hspi1.Instance = SPI1;
  hspi1.Init.Mode = SPI_MODE_MASTER;
  hspi1.Init.Direction = SPI_DIRECTION_2LINES;
  hspi1.Init.DataSize = SPI_DATASIZE_10BIT;
  hspi1.Init.CLKPolarity = SPI_POLARITY_LOW;
  hspi1.Init.CLKPhase = SPI_PHASE_1EDGE;
  hspi1.Init.NSS = SPI_NSS_SOFT;
  hspi1.Init.BaudRatePrescaler = SPI_BAUDRATEPRESCALER_2;
  hspi1.Init.FirstBit = SPI_FIRSTBIT_MSB;
  hspi1.Init.TIMode = SPI_TIMODE_DISABLE;
  hspi1.Init.CRCCalculation = SPI_CRCCALCULATION_DISABLE;
  hspi1.Init.CRCPolynomial = 7;
  hspi1.Init.CRCLength = SPI_CRC_LENGTH_DATASIZE;
  hspi1.Init.NSSPMode = SPI_NSS_PULSE_ENABLE;
  if (HAL_SPI_Init(&hspi1) != HAL_OK)
  {
    Error_Handler();
  }

}

static void MX_SPI2_Init(void)
{

  /* SPI2 parameter configuration*/
  hspi2.Instance = SPI2;
  hspi2.Init.Mode = SPI_MODE_SLAVE;
  hspi2.Init.Direction = SPI_DIRECTION_2LINES;
  hspi2.Init.DataSize = SPI_DATASIZE_4BIT;
  hspi2.Init.CLKPolarity = SPI_POLARITY_LOW;
  hspi2.Init.CLKPhase = SPI_PHASE_1EDGE;
  hspi2.Init.NSS = SPI_NSS_HARD_INPUT;
  hspi2.Init.FirstBit = SPI_FIRSTBIT_MSB;
  hspi2.Init.TIMode = SPI_TIMODE_DISABLE;
  hspi2.Init.CRCCalculation = SPI_CRCCALCULATION_DISABLE;
  hspi2.Init.CRCPolynomial = 7;
  hspi2.Init.CRCLength = SPI_CRC_LENGTH_DATASIZE;
  hspi2.Init.NSSPMode = SPI_NSS_PULSE_DISABLE;
  if (HAL_SPI_Init(&hspi2) != HAL_OK)
  {
    Error_Handler();
  }

}

static void MX_TIM1_Init(void)
{

  TIM_SlaveConfigTypeDef sSlaveConfig = {0};
  TIM_MasterConfigTypeDef sMasterConfig = {0};

  htim1.Instance = TIM1;
  htim1.Init.Prescaler = 0;
  htim1.Init.CounterMode = TIM_COUNTERMODE_UP;
  htim1.Init.Period = 65535;
  htim1.Init.ClockDivision = TIM_CLOCKDIVISION_DIV1;
  htim1.Init.RepetitionCounter = 0;
  htim1.Init.AutoReloadPreload = TIM_AUTORELOAD_PRELOAD_DISABLE;
  if (HAL_TIM_Base_Init(&htim1) != HAL_OK)
  {
    Error_Handler();
  }
  sSlaveConfig.SlaveMode = TIM_SLAVEMODE_EXTERNAL1;
  sSlaveConfig.InputTrigger = TIM_TS_ITR2;
  if (HAL_TIM_SlaveConfigSynchro(&htim1, &sSlaveConfig) != HAL_OK)
  {
    Error_Handler();
  }
  sMasterConfig.MasterOutputTrigger = TIM_TRGO_RESET;
  sMasterConfig.MasterOutputTrigger2 = TIM_TRGO2_RESET;
  sMasterConfig.MasterSlaveMode = TIM_MASTERSLAVEMODE_DISABLE;
  if (HAL_TIMEx_MasterConfigSynchronization(&htim1, &sMasterConfig) != HAL_OK)
  {
    Error_Handler();
  }

}

static void MX_TIM2_Init(void)
{

  TIM_SlaveConfigTypeDef sSlaveConfig = {0};
  TIM_MasterConfigTypeDef sMasterConfig = {0};

  htim2.Instance = TIM2;
  htim2.Init.Prescaler = 0;
  htim2.Init.CounterMode = TIM_COUNTERMODE_UP;
  htim2.Init.Period = 4294967295;
  htim2.Init.ClockDivision = TIM_CLOCKDIVISION_DIV1;
  htim2.Init.AutoReloadPreload = TIM_AUTORELOAD_PRELOAD_DISABLE;
  if (HAL_TIM_Base_Init(&htim2) != HAL_OK)
  {
    Error_Handler();
  }
  sSlaveConfig.SlaveMode = TIM_SLAVEMODE_TRIGGER;
  sSlaveConfig.InputTrigger = TIM_TS_ETRF;
  sSlaveConfig.TriggerPolarity = TIM_TRIGGERPOLARITY_NONINVERTED;
  sSlaveConfig.TriggerPrescaler = TIM_TRIGGERPRESCALER_DIV1;
  sSlaveConfig.TriggerFilter = 0;
  if (HAL_TIM_SlaveConfigSynchro(&htim2, &sSlaveConfig) != HAL_OK)
  {
    Error_Handler();
  }
  sMasterConfig.MasterOutputTrigger = TIM_TRGO_RESET;
  sMasterConfig.MasterSlaveMode = TIM_MASTERSLAVEMODE_DISABLE;
  if (HAL_TIMEx_MasterConfigSynchronization(&htim2, &sMasterConfig) != HAL_OK)
  {
    Error_Handler();
  }
  if (HAL_TIMEx_RemapConfig(&htim2, TIM_TIM2_ETR_COMP1) != HAL_OK)
  {
    Error_Handler();
  }

}

static void MX_TIM16_Init(void)
{

  htim16.Instance = TIM16;
  htim16.Init.Prescaler = 0;
  htim16.Init.CounterMode = TIM_COUNTERMODE_UP;
  htim16.Init.Period = 65535;
  htim16.Init.ClockDivision = TIM_CLOCKDIVISION_DIV1;
  htim16.Init.RepetitionCounter = 0;
  htim16.Init.AutoReloadPreload = TIM_AUTORELOAD_PRELOAD_ENABLE;
  if (HAL_TIM_Base_Init(&htim16) != HAL_OK)
  {
    Error_Handler();
  }

}

static void MX_TIM17_Init(void)
{

  htim17.Instance = TIM17;
  htim17.Init.Prescaler = 16;
  htim17.Init.CounterMode = TIM_COUNTERMODE_UP;
  htim17.Init.Period = 65535;
  htim17.Init.ClockDivision = TIM_CLOCKDIVISION_DIV1;
  htim17.Init.RepetitionCounter = 0;
  htim17.Init.AutoReloadPreload = TIM_AUTORELOAD_PRELOAD_DISABLE;
  if (HAL_TIM_Base_Init(&htim17) != HAL_OK)
  {
    Error_Handler();
  }

}

static void MX_USB_PCD_Init(void)
{

  hpcd_USB_FS.Instance = USB;
  hpcd_USB_FS.Init.dev_endpoints = 8;
  hpcd_USB_FS.Init.speed = PCD_SPEED_FULL;
  hpcd_USB_FS.Init.phy_itface = PCD_PHY_EMBEDDED;
  hpcd_USB_FS.Init.Sof_enable = DISABLE;
  hpcd_USB_FS.Init.low_power_enable = DISABLE;
  hpcd_USB_FS.Init.lpm_enable = DISABLE;
  hpcd_USB_FS.Init.battery_charging_enable = DISABLE;
  if (HAL_PCD_Init(&hpcd_USB_FS) != HAL_OK)
  {
    Error_Handler();
  }

}

static void MX_WWDG_Init(void)
{

  hwwdg.Instance = WWDG;
  hwwdg.Init.Prescaler = WWDG_PRESCALER_1;
  hwwdg.Init.Window = 64;
  hwwdg.Init.Counter = 64;
  hwwdg.Init.EWIMode = WWDG_EWI_DISABLE;
  if (HAL_WWDG_Init(&hwwdg) != HAL_OK)
  {
    Error_Handler();
  }

}

static void MX_DMA_Init(void)
{

  /* DMA controller clock enable */
  __HAL_RCC_DMAMUX1_CLK_ENABLE();
  __HAL_RCC_DMA1_CLK_ENABLE();

  /* DMA interrupt init */
  /* DMA1_Channel1_IRQn interrupt configuration */
  HAL_NVIC_SetPriority(DMA1_Channel1_IRQn, 0, 0);
  HAL_NVIC_EnableIRQ(DMA1_Channel1_IRQn);
  /* DMA1_Channel2_IRQn interrupt configuration */
  HAL_NVIC_SetPriority(DMA1_Channel2_IRQn, 0, 0);
  HAL_NVIC_EnableIRQ(DMA1_Channel2_IRQn);

}

static void MX_GPIO_Init(void)
{
  GPIO_InitTypeDef GPIO_InitStruct = {0};

  /* GPIO Ports Clock Enable */
  __HAL_RCC_GPIOA_CLK_ENABLE();
  __HAL_RCC_GPIOC_CLK_ENABLE();
  __HAL_RCC_GPIOB_CLK_ENABLE();
  __HAL_RCC_GPIOD_CLK_ENABLE();
  __HAL_RCC_GPIOE_CLK_ENABLE();
  __HAL_RCC_GPIOH_CLK_ENABLE();

  /*Configure GPIO pin Output Level */
  HAL_GPIO_WritePin(GPIOH, CS_DISP_Pin|GPIO_SELECT2_Pin, GPIO_PIN_RESET);

  /*Configure GPIO pin Output Level */
  HAL_GPIO_WritePin(GPIOC, D_C_DISP_Pin|RST_DISP_Pin, GPIO_PIN_RESET);

  /*Configure GPIO pin Output Level */
  HAL_GPIO_WritePin(GPIOD, GPIO_PIN_8, GPIO_PIN_RESET);

  /*Configure GPIO pin Output Level */
  HAL_GPIO_WritePin(GPIO_SELECT1_GPIO_Port, GPIO_SELECT1_Pin, GPIO_PIN_RESET);

  /*Configure GPIO pins : PC2 PC10 PC11 */
  GPIO_InitStruct.Pin = GPIO_PIN_2|GPIO_PIN_10|GPIO_PIN_11;
  GPIO_InitStruct.Mode = GPIO_MODE_INPUT;
  GPIO_InitStruct.Pull = GPIO_NOPULL;
  HAL_GPIO_Init(GPIOC, &GPIO_InitStruct);

  /*Configure GPIO pins : TSC_G4_IO1_Pin TSC_G4_IO2_Pin */
  GPIO_InitStruct.Pin = TSC_G4_IO1_Pin|TSC_G4_IO2_Pin;
  GPIO_InitStruct.Mode = GPIO_MODE_AF_PP;
  GPIO_InitStruct.Pull = GPIO_NOPULL;
  GPIO_InitStruct.Speed = GPIO_SPEED_FREQ_LOW;
  GPIO_InitStruct.Alternate = GPIO_AF9_TSC;
  HAL_GPIO_Init(GPIOC, &GPIO_InitStruct);

  /*Configure GPIO pins : PE4 DRDY_Pin */
  GPIO_InitStruct.Pin = GPIO_PIN_4|DRDY_Pin;
  GPIO_InitStruct.Mode = GPIO_MODE_INPUT;
  GPIO_InitStruct.Pull = GPIO_NOPULL;
  HAL_GPIO_Init(GPIOE, &GPIO_InitStruct);

  /*Configure GPIO pin : PB2 */
  GPIO_InitStruct.Pin = GPIO_PIN_2;
  GPIO_InitStruct.Mode = GPIO_MODE_INPUT;
  GPIO_InitStruct.Pull = GPIO_NOPULL;
  HAL_GPIO_Init(GPIOB, &GPIO_InitStruct);

  /*Configure GPIO pins : SAI1_CK2_Pin SAI1_D2_Pin */
  GPIO_InitStruct.Pin = SAI1_CK2_Pin|SAI1_D2_Pin;
  GPIO_InitStruct.Mode = GPIO_MODE_AF_PP;
  GPIO_InitStruct.Pull = GPIO_NOPULL;
  GPIO_InitStruct.Speed = GPIO_SPEED_FREQ_LOW;
  GPIO_InitStruct.Alternate = GPIO_AF3_SAI1;
  HAL_GPIO_Init(GPIOA, &GPIO_InitStruct);

  /*Configure GPIO pins : CS_DISP_Pin GPIO_SELECT2_Pin */
  GPIO_InitStruct.Pin = CS_DISP_Pin|GPIO_SELECT2_Pin;
  GPIO_InitStruct.Mode = GPIO_MODE_OUTPUT_PP;
  GPIO_InitStruct.Pull = GPIO_NOPULL;
  GPIO_InitStruct.Speed = GPIO_SPEED_FREQ_LOW;
  HAL_GPIO_Init(GPIOH, &GPIO_InitStruct);

  /*Configure GPIO pins : PD13 PD12 PD4 */
  GPIO_InitStruct.Pin = GPIO_PIN_13|GPIO_PIN_12|GPIO_PIN_4;
  GPIO_InitStruct.Mode = GPIO_MODE_INPUT;
  GPIO_InitStruct.Pull = GPIO_NOPULL;
  HAL_GPIO_Init(GPIOD, &GPIO_InitStruct);

  /*Configure GPIO pins : INT1_Pin INT2_Pin */
  GPIO_InitStruct.Pin = INT1_Pin|INT2_Pin;
  GPIO_InitStruct.Mode = GPIO_MODE_IT_RISING;
  GPIO_InitStruct.Pull = GPIO_NOPULL;
  HAL_GPIO_Init(GPIOD, &GPIO_InitStruct);

  /*Configure GPIO pins : D_C_DISP_Pin RST_DISP_Pin */
  GPIO_InitStruct.Pin = D_C_DISP_Pin|RST_DISP_Pin;
  GPIO_InitStruct.Mode = GPIO_MODE_OUTPUT_PP;
  GPIO_InitStruct.Pull = GPIO_NOPULL;
  GPIO_InitStruct.Speed = GPIO_SPEED_FREQ_LOW;
  HAL_GPIO_Init(GPIOC, &GPIO_InitStruct);

  /*Configure GPIO pin : PE3 */
  GPIO_InitStruct.Pin = GPIO_PIN_3;
  GPIO_InitStruct.Mode = GPIO_MODE_IT_RISING;
  GPIO_InitStruct.Pull = GPIO_NOPULL;
  HAL_GPIO_Init(GPIOE, &GPIO_InitStruct);

  /*Configure GPIO pin : PD8 */
  GPIO_InitStruct.Pin = GPIO_PIN_8;
  GPIO_InitStruct.Mode = GPIO_MODE_OUTPUT_PP;
  GPIO_InitStruct.Pull = GPIO_NOPULL;
  GPIO_InitStruct.Speed = GPIO_SPEED_FREQ_LOW;
  HAL_GPIO_Init(GPIOD, &GPIO_InitStruct);

  /*Configure GPIO pins : TSC_G6_IO1_Pin TSC_G6_IO2_Pin */
  GPIO_InitStruct.Pin = TSC_G6_IO1_Pin|TSC_G6_IO2_Pin;
  GPIO_InitStruct.Mode = GPIO_MODE_AF_PP;
  GPIO_InitStruct.Pull = GPIO_NOPULL;
  GPIO_InitStruct.Speed = GPIO_SPEED_FREQ_LOW;
  GPIO_InitStruct.Alternate = GPIO_AF9_TSC;
  HAL_GPIO_Init(GPIOD, &GPIO_InitStruct);

  /*Configure GPIO pin : GPIO_SELECT1_Pin */
  GPIO_InitStruct.Pin = GPIO_SELECT1_Pin;
  GPIO_InitStruct.Mode = GPIO_MODE_OUTPUT_PP;
  GPIO_InitStruct.Pull = GPIO_NOPULL;
  GPIO_InitStruct.Speed = GPIO_SPEED_FREQ_LOW;
  HAL_GPIO_Init(GPIO_SELECT1_GPIO_Port, &GPIO_InitStruct);

}

/* USER CODE BEGIN 4 */
int _write(int le, char *ptr, int len)

{

int DataIdx;

for(DataIdx = 0; DataIdx < len; DataIdx++)

{

ITM_SendChar(*ptr++);

}

return len;

}

/* USER CODE END 4 */

void Error_Handler(void)
{
  __disable_irq();
  while (1)
  {
  }
}
